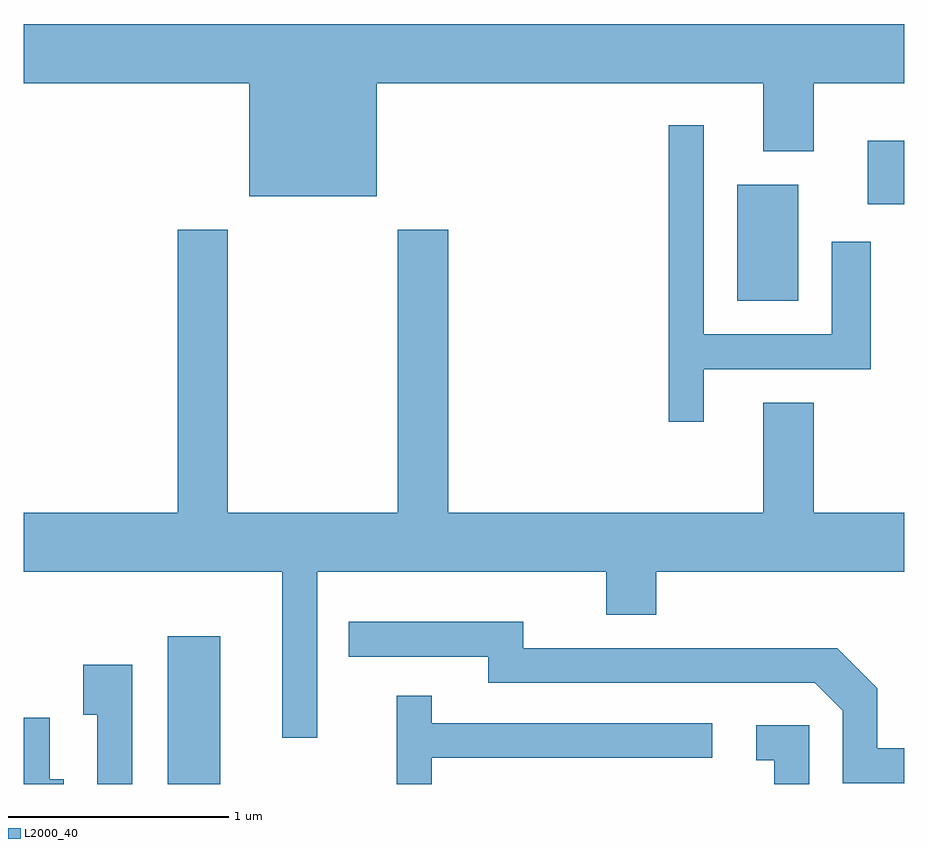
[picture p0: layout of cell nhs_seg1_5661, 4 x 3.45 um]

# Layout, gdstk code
import gdstk
lib = gdstk.Library(unit=1e-6, precision=1e-09)
def R(c, l, rs):  # rectangles x0, y0, x1, y1
    for r in rs: c.add(gdstk.rectangle(r[:2], r[2:], *l))
def P(c, l, *ps):  # polygons
    for p in ps: c.add(gdstk.Polygon(p, *l))
L2000_40 = (2000, 40)

nhs_seg1_5661 = lib.new_cell('nhs_seg1_5661')
R(nhs_seg1_5661, L2000_40, [(356.266,909.712,356.504,910.384), (358.851,911.906,359.129,912.434), (359.446,912.346,359.611,912.634)])
P(nhs_seg1_5661, L2000_40, [(357.214,912.896),(358.971,912.896),(358.971,912.586),(359.199,912.586),(359.199,912.896),(359.611,912.896),(359.611,913.164),(355.611,913.164),(355.611,912.896),(356.636,912.896),(356.636,912.381),(357.214,912.381)],
  [(358.699,911.596),(359.459,911.596),(359.459,912.174),(359.281,912.174),(359.281,911.754),(358.699,911.754),(358.699,912.703),(358.541,912.703),(358.541,911.358),(358.699,911.358)],
  [(356.944,910.676),(358.256,910.676),(358.256,910.481),(358.484,910.481),(358.484,910.676),(359.611,910.676),(359.611,910.944),(359.199,910.944),(359.199,911.444),(358.971,911.444),(358.971,910.944),(357.539,910.944),(357.539,912.229),(357.311,912.229),(357.311,910.944),(356.539,910.944),(356.539,912.229),(356.311,912.229),(356.311,910.944),(355.611,910.944),(355.611,910.676),(356.786,910.676),(356.786,909.923),(356.944,909.923)],
  [(359.611,909.874),(359.489,909.874),(359.489,910.147),(359.307,910.329),(357.879,910.329),(357.879,910.449),(357.088,910.449),(357.088,910.291),(357.721,910.291),(357.721,910.171),(359.204,910.171),(359.331,910.044),(359.331,909.716),(359.611,909.716)],
  [(356.104,910.254),(355.881,910.254),(355.881,910.026),(355.946,910.026),(355.946,909.712),(356.104,909.712)],
  [(357.464,909.831),(358.738,909.831),(358.738,909.989),(357.464,909.989),(357.464,910.113),(357.306,910.113),(357.306,909.712),(357.464,909.712)],
  [(355.794,909.734),(355.729,909.734),(355.729,910.014),(355.611,910.014),(355.611,909.712),(355.794,909.712)],
  [(359.179,909.979),(358.938,909.979),(358.938,909.821),(359.021,909.821),(359.021,909.712),(359.179,909.712)])

lib.write_gds('nhs_seg1_5661.gds')
